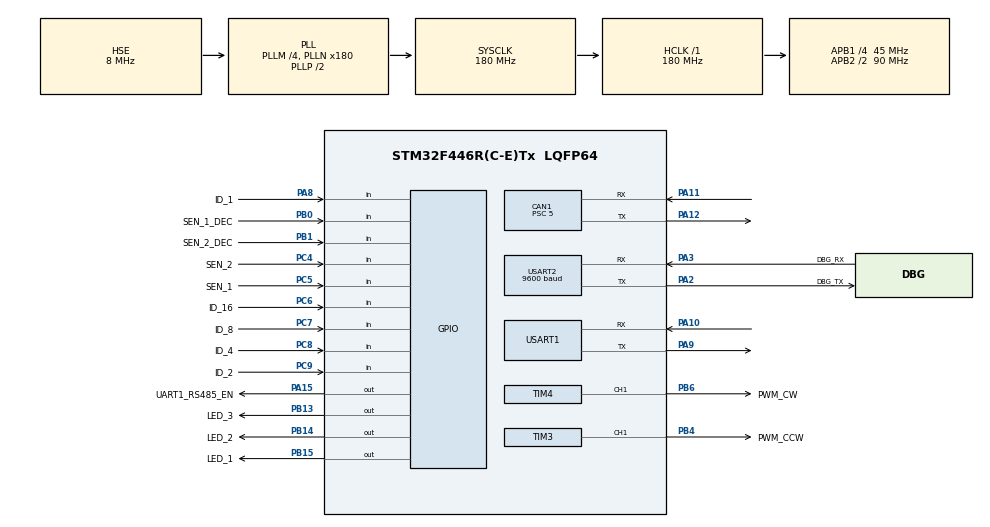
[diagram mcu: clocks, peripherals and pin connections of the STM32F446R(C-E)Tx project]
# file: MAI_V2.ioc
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Mcu.Family=STM32F4
Dma.TIM4_CH1.1.MemDataAlignment=DMA_MDATAALIGN_HALFWORD
Dma.TIM4_CH1.1.PeriphDataAlignment=DMA_PDATAALIGN_HALFWORD
PH0-OSC_IN.Signal=RCC_OSC_IN
RCC.CortexFreq_Value=180000000
PB14.GPIO_Label=LED_2
VP_IWDG_VS_IWDG.Mode=IWDG_Activate
Dma.TIM3_CH1/TRIG.0.MemDataAlignment=DMA_MDATAALIGN_HALFWORD
PC6.GPIO_Label=ID_16
PA11.Mode=CAN_Activate
PB0.GPIO_Label=SEN_1_DEC
PB6.GPIO_Label=PWM_CW
PB13.GPIO_Label=LED_3
NVIC.DMA1_Stream4_IRQn=true\:0\:0\:false\:false\:true\:false\:true
PB13.Signal=GPIO_Output
PB15.Signal=GPIO_Output
PB15.PinState=GPIO_PIN_SET
RCC.SYSCLKSource=RCC_SYSCLKSOURCE_PLLCLK
ProjectManager.StackSize=0x800
PA15.GPIO_Label=UART1_RS485_EN
PA12.Signal=CAN1_TX
NVIC.CAN1_TX_IRQn=true\:3\:0\:true\:false\:true\:true\:true
RCC.HCLKFreq_Value=180000000
RCC.APB2TimFreq_Value=180000000
TIM3.Period=179
TIM4.Pulse-PWM\ Generation1\ CH1=0
TIM4.OCMode_PWM-PWM\ Generation1\ CH1=TIM_OCMODE_PWM2
PB6.Signal=S_TIM4_CH1
PC7.Signal=GPIO_Input
RCC.AHBFreq_Value=180000000
PH0-OSC_IN.Mode=HSE-External-Oscillator
TIM3.Channel-PWM\ Generation1\ CH1=TIM_CHANNEL_1
RCC.HSE_VALUE=8000000
Dma.TIM4_CH1.1.MemInc=DMA_MINC_ENABLE
Dma.TIM3_CH1/TRIG.0.PeriphDataAlignment=DMA_PDATAALIGN_HALFWORD
PC4.GPIO_Label=SEN_2
PA14.Mode=Serial_Wire
TIM3.Prescaler=0
PB1.GPIO_Label=SEN_2_DEC
Dma.TIM3_CH1/TRIG.0.Priority=DMA_PRIORITY_LOW
PA8.Signal=GPIO_Input
SH.S_TIM3_CH1.0=TIM3_CH1,PWM Generation1 CH1
TIM4.Period=179
PH1-OSC_OUT.Mode=HSE-External-Oscillator
CAN1.Prescaler=5
Mcu.Package=LQFP64
PB1.Signal=GPIO_Input
USART2.VirtualMode=VM_ASYNC
PA2.GPIO_Label=DBG_TX
PA10.Signal=USART1_RX
PA15.Signal=GPIO_Output
RCC.APB2CLKDivider=RCC_HCLK_DIV2
SH.S_TIM4_CH1.0=TIM4_CH1,PWM Generation1 CH1
Dma.Request1=TIM4_CH1
RCC.APB1TimFreq_Value=90000000
NVIC.DMA1_Stream0_IRQn=true\:0\:0\:false\:false\:true\:false\:true
PC5.Signal=GPIO_Input
NVIC.USART1_IRQn=true\:0\:0\:false\:false\:true\:true\:true
Dma.Request0=TIM3_CH1/TRIG
CAN1.CalculateTimeBit=999.99
PB4.Signal=S_TIM3_CH1
PA3.Signal=USART2_RX
CAN1.CalculateTimeQuantum=111.11111111111111
Dma.TIM4_CH1.1.PeriphInc=DMA_PINC_DISABLE
RCC.PLLSourceVirtual=RCC_PLLSOURCE_HSE
TIM4.Channel-PWM\ Generation1\ CH1=TIM_CHANNEL_1
PA10.Mode=Asynchronous
PC9.GPIO_Label=ID_2
PB6.GPIO_PuPd=GPIO_PULLDOWN
CAN1.CalculateBaudRate=1000000
Dma.TIM3_CH1/TRIG.0.PeriphInc=DMA_PINC_DISABLE
PC8.Signal=GPIO_Input
PC4.Signal=GPIO_Input
PC6.Signal=GPIO_Input
Dma.TIM3_CH1/TRIG.0.MemInc=DMA_MINC_ENABLE
RCC.APB1CLKDivider=RCC_HCLK_DIV4
NVIC.USART2_IRQn=true\:4\:0\:true\:false\:true\:true\:true
USART2.BaudRate=9600
PC8.GPIO_Label=ID_4
PA13.Signal=SYS_JTMS-SWDIO
PA3.Mode=Asynchronous
PA9.Mode=Asynchronous
PA8.GPIO_Label=ID_1
PB14.PinState=GPIO_PIN_SET
TIM3.Pulse-PWM\ Generation1\ CH1=0
TIM3.OCMode_PWM-PWM\ Generation1\ CH1=TIM_OCMODE_PWM2
CAN1.BS2=CAN_BS2_3TQ
CAN1.BS1=CAN_BS1_5TQ
ProjectManager.TargetToolchain=STM32CubeIDE
PA9.Signal=USART1_TX
PB4.GPIO_PuPd=GPIO_PULLDOWN
RCC.USBFreq_Value=180000000
Dma.TIM4_CH1.1.FIFOMode=DMA_FIFOMODE_DISABLE
CAN1.ABOM=ENABLE
Dma.TIM4_CH1.1.Instance=DMA1_Stream0
PB14.Signal=GPIO_Output
board=custom
RCC.VCOOutputFreq_Value=360000000
Dma.TIM4_CH1.1.Direction=DMA_MEMORY_TO_PERIPH
RCC.APB2Freq_Value=90000000
PB13.PinState=GPIO_PIN_SET
PB4.GPIO_Label=PWM_CCW
PB15.GPIO_Label=LED_1
VP_TIM2_VS_ClockSourceINT.Mode=Internal
RCC.INSTRUCTION_CACHE_ENABLE=1
PH1-OSC_OUT.Signal=RCC_OSC_OUT
TIM2.Period=0
Dma.TIM4_CH1.1.Mode=DMA_NORMAL
PA13.Mode=Serial_Wire
Mcu.Name=STM32F446R(C-E)Tx
Dma.TIM3_CH1/TRIG.0.FIFOMode=DMA_FIFOMODE_DISABLE
PA2.Signal=USART2_TX
CAN1.SJW=CAN_SJW_1TQ
PC7.GPIO_Label=ID_8
Dma.TIM3_CH1/TRIG.0.Mode=DMA_NORMAL
RCC.SYSCLKFreq_VALUE=180000000
PA12.Mode=CAN_Activate
PC5.GPIO_Label=SEN_1
Dma.TIM3_CH1/TRIG.0.Direction=DMA_MEMORY_TO_PERIPH
USART1.VirtualMode=VM_ASYNC
PA15.GPIO_Speed=GPIO_SPEED_FREQ_VERY_HIGH
PA11.Signal=CAN1_RX
PA14.Signal=SYS_JTCK-SWCLK
ProjectManager.HeapSize=0x400
NVIC.PriorityGroup=NVIC_PRIORITYGROUP_4
Dma.TIM3_CH1/TRIG.0.Instance=DMA1_Stream4
RCC.PLLM=4
RCC.PLLN=180
PA2.Mode=Asynchronous
PC9.Signal=GPIO_Input
RCC.APB1Freq_Value=45000000
PB0.Signal=GPIO_Input
NVIC.CAN1_RX0_IRQn=true\:2\:0\:true\:false\:true\:true\:true
Dma.TIM4_CH1.1.Priority=DMA_PRIORITY_LOW
PA3.GPIO_Label=DBG_RX

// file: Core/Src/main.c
/* USER CODE BEGIN Header */
/**
 ******************************************************************************
 * @file           : main.c
 * @brief          : Main program body
 ******************************************************************************
 * @attention
 *
 * <h2><center>&copy; Copyright (c) 2020 STMicroelectronics.
 * All rights reserved.</center></h2>
 *
 * This software component is licensed by ST under BSD 3-Clause license,
 * the "License"; You may not use this file except in compliance with the
 * License. You may obtain a copy of the License at:
 *                        opensource.org/licenses/BSD-3-Clause
 *
 ******************************************************************************
 */
/* USER CODE END Header */
#include "main.h"

/* USER CODE BEGIN Includes */
#include "mai_init.h"
#include "mal_uart.h"
#include "mal_can.h"
#include "mal_systimer.h"
#include "mal_sensor_limit.h"
#include "mal_loop_process.h"
#include "mal_motor.h"
#include "mal_motor_acPana232Func.h"

#include "mal_board_info.h"

#include "eeprom.h"
#include "eeprom_data.h"
#include "mal_motor_acPanaCurve.h"

#include "Imonitor.h"

/* USER CODE END Includes */

CAN_HandleTypeDef hcan1;

IWDG_HandleTypeDef hiwdg;

TIM_HandleTypeDef htim2;
TIM_HandleTypeDef htim3;
TIM_HandleTypeDef htim4;
DMA_HandleTypeDef hdma_tim3_ch1_trig;
DMA_HandleTypeDef hdma_tim4_ch1;

UART_HandleTypeDef huart1;
UART_HandleTypeDef huart2;

/* USER CODE BEGIN PV */

MAL_BoardManagerTypeDef mboard;

MAL_CAN_HandleTypeDef mcan1;
MAL_UART_HandleTypeDef muart1;
MAL_UART_HandleTypeDef muart2;

MAL_SENSOR_Limit_HandleTypeDef sensor[4];

MAL_MOTOR_HandleTypeDef mmotor[MOTOR_AXLE_CNT];

MAL_MOTOR_ACPANA_CurveTypeDef panaCurve = {0,};

/* USER CODE END PV */

void SystemClock_Config(void);
static void MX_GPIO_Init(void);
static void MX_DMA_Init(void);
static void MX_CAN1_Init(void);
static void MX_TIM3_Init(void);
static void MX_TIM4_Init(void);
static void MX_USART2_UART_Init(void);
static void MX_TIM2_Init(void);
static void MX_USART1_UART_Init(void);
static void MX_IWDG_Init(void);

/* USER CODE BEGIN 0 */
//#define LIVE_DBG
#ifdef LIVE_DBG
#include "mal_motor_acPanasonic.h"
uint8_t live_1;
uint8_t live_2;
extern MAL_MOTOR_PanasonicHandleTypeDef mpanasonic;
#endif

/* Virtual address defined by the user: 0xFFFF value is prohibited */
//uint16_t VirtAddVarTab[NB_OF_VAR];
//uint16_t VarDataTab[NB_OF_VAR] = { 'M', 'a', 't', 'e', 'u', 's', 'z', ' ', 'S', 'a', 'l', 'a', 'm', 'o', 'n', ' ', 'm', 's', 'a', 'l', 'a', 'm', 'o', 'n', '.', 'p', 'l' };
//uint8_t VarDataTabRead[NB_OF_VAR];
//uint16_t VarIndex, VarDataTmp = 0;

EEPemul_Data_TypeDef EepData;
/* USER CODE END 0 */

int main(void)
{
  /* USER CODE BEGIN 1 */
	uint32_t t_PulseSync;
	uint8_t toggle232=0;
  /* USER CODE END 1 */

  /* MCU Configuration--------------------------------------------------------*/

  /* Reset of all peripherals, Initializes the Flash interface and the Systick. */
  HAL_Init();

  /* Configure the system clock */
  SystemClock_Config();

  /* Initialize all configured peripherals */
  MX_GPIO_Init();
  MX_DMA_Init();
  MX_CAN1_Init();
  MX_TIM3_Init();
  MX_TIM4_Init();
  MX_USART2_UART_Init();
  MX_TIM2_Init();
  MX_USART1_UART_Init();
  MX_IWDG_Init();
  /* USER CODE BEGIN 2 */
  /* USER CODE BEGIN SysInit */

  /* USER CODE END SysInit */

  /* Initialize all configured peripherals */
  /* USER CODE BEGIN 2 */
  HAL_IWDG_Refresh(&hiwdg);

	//my_can_id = MAL_Board_ID_GetValue();
	gm_motion_RX_LED_init(LED_2_GPIO_Port, LED_2_Pin, GPIO_PIN_SET);
	gm_motion_TX_LED_init(LED_3_GPIO_Port, LED_3_Pin, GPIO_PIN_SET);
	//MAL_CAN_FilterConfig(&hcan1);

	MAL_MAI_V1_Init();
	//my_can_id = MAL_Board_ID_GetValue();

	//idtest

	add_my_can_sub_id(MAL_Board_ID_GetValue(), 1);

	can_init_data_save(&hcan1);
	//MAL_Protocol_Ani_EventBootAlm();
	app_tx_init_sub_pid_boot_ctl(
			0,
			0,
			my_can_id_data.id,
			MASTER_CAN_ID,
			my_can_id_data.sub_id[0],
			0);

	//Imonitor_init();

/*eep example*/
////
////
//	//EE_emul_Init((uint16_t *)&EepData.flag,sizeof(EEPemul_Data_TypeDef));
//
//
//	//EE_ReadStrData((uint16_t *)&EepData.encoderSt1_cnt,sizeof(EepData.encoderSt1_cnt));
//
//	//EepData.encoderSt1_cnt = 0x11223344;
//	//EE_WriteStrData((uint16_t *)&EepData.encoderSt1_cnt,sizeof(EepData.encoderSt1_cnt));
//
//	//EepData.flag = 0x1212;
//	//EE_WriteStrData((uint16_t *)&EepData.flag,sizeof(EepData.flag));
//
//	/* Unlock the Flash Program Erase controller */
//
//	/* EEPROM Init */
//
//	// HAL_GPIO_WritePin(LED_GPIO_Port, LED_Pin, GPIO_PIN_SET);

/*eep example*/
/*
	// Fill EEPROM variables addresses
	for (VarIndex = 1; VarIndex <= NB_OF_VAR; VarIndex++) {
		VirtAddVarTab[VarIndex - 1] = VarIndex;
	}

	// Store Values in EEPROM emulation
	HAL_UART_Transmit(&huart2, "Store values\n\r", 14, 100);

	//HAL_GPIO_WritePin(LED_GPIO_Port, LED_Pin, GPIO_PIN_RESET);
	for (VarIndex = 0; VarIndex < NB_OF_VAR; VarIndex++) {
		 Sequence 1
		if ((EE_WriteVariable(VirtAddVarTab[VarIndex], VarDataTab[VarIndex])) != HAL_OK) {
			Error_Handler();
		}
	}
	//HAL_GPIO_WritePin(LED_GPIO_Port, LED_Pin, GPIO_PIN_SET);

	// Read values
	HAL_UART_Transmit(&huart2, "Read values\n\r", 13, 100);
	// HAL_GPIO_WritePin(LED_GPIO_Port, LED_Pin, GPIO_PIN_RESET);
	for (VarIndex = 0; VarIndex < NB_OF_VAR; VarIndex++) {
		if ((EE_ReadVariable(VirtAddVarTab[VarIndex], &VarDataTabRead[VarIndex])) != HAL_OK) {
			Error_Handler();
		}
	}
	//  HAL_GPIO_WritePin(LED_GPIO_Port, LED_Pin, GPIO_PIN_SET);

	HAL_UART_Transmit(&huart2, "Read table: ", 12, 100);
	HAL_UART_Transmit(&huart2, VarDataTabRead, NB_OF_VAR, 1000);
	HAL_UART_Transmit(&huart2, "\n\r", 2, 100);

	// Store revert Values in EEPROM emulation
	HAL_UART_Transmit(&huart2, "\n\r", 2, 100);
	HAL_UART_Transmit(&huart2, "Store revert values\n\r", 21, 100);

	//  HAL_GPIO_WritePin(LED_GPIO_Port, LED_Pin, GPIO_PIN_RESET);
	for (VarIndex = 0; VarIndex < NB_OF_VAR; VarIndex++) {
		 Sequence 1
		if ((EE_WriteVariable(VirtAddVarTab[VarIndex], VarDataTab[NB_OF_VAR - VarIndex - 1])) != HAL_OK) {
			Error_Handler();
		}
	}
//		HAL_GPIO_WritePin(LED_GPIO_Port, LED_Pin, GPIO_PIN_SET);

// Read values
	HAL_UART_Transmit(&huart2, "Read revert values\n\r", 20, 100);
	//  HAL_GPIO_WritePin(LED_GPIO_Port, LED_Pin, GPIO_PIN_RESET);
	for (VarIndex = 0; VarIndex < NB_OF_VAR; VarIndex++) {
		if ((EE_ReadVariable(VirtAddVarTab[VarIndex], &VarDataTabRead[VarIndex])) != HAL_OK) {
			Error_Handler();
		}
	}
	// HAL_GPIO_WritePin(LED_GPIO_Port, LED_Pin, GPIO_PIN_SET);

	HAL_UART_Transmit(&huart2, "Read revert table: ", 19, 100);
	HAL_UART_Transmit(&huart2, VarDataTabRead, NB_OF_VAR, 1000);
	HAL_UART_Transmit(&huart2, "\n\r", 2, 100);

	// Store Values in EEPROM emulation
	HAL_UART_Transmit(&huart2, "\n\r", 2, 100);
	HAL_UART_Transmit(&huart2, "Store values\n\r", 14, 100);

	// HAL_GPIO_WritePin(LED_GPIO_Port, LED_Pin, GPIO_PIN_RESET);
	for (VarIndex = 0; VarIndex < NB_OF_VAR; VarIndex++) {
		 Sequence 1
		if ((EE_WriteVariable(VirtAddVarTab[VarIndex], VarDataTab[VarIndex])) != HAL_OK) {
			Error_Handler();
		}
	}
	//HAL_GPIO_WritePin(LED_GPIO_Port, LED_Pin, GPIO_PIN_SET);

	// Read values
	HAL_UART_Transmit(&huart2, "Read values\n\r", 13, 100);
	//HAL_GPIO_WritePin(LED_GPIO_Port, LED_Pin, GPIO_PIN_RESET);
	for (VarIndex = 0; VarIndex < NB_OF_VAR; VarIndex++) {
		if ((EE_ReadVariable(VirtAddVarTab[VarIndex], &VarDataTabRead[VarIndex])) != HAL_OK) {
			Error_Handler();
		}
	}
	//HAL_GPIO_WritePin(LED_GPIO_Port, LED_Pin, GPIO_PIN_SET);

	HAL_UART_Transmit(&huart2, "Read table: ", 12, 100);
	HAL_UART_Transmit(&huart2, VarDataTabRead, NB_OF_VAR, 1000);
	HAL_UART_Transmit(&huart2, "\n\r", 2, 100);
*/

  /* USER CODE END 2 */

  /* Infinite loop */
	while (1) {

    /* USER CODE BEGIN 3 */

		if(MAL_SysTimer_Elapsed(t_PulseSync) >= 500)
		{
			if(toggle232 == 0)
			{
				MAL_Motor_AcPanasonic_232_GetPulseCounter();
				toggle232 = 1;
			}
			else if(toggle232 == 1)
			{
				MAL_Motor_AcPanasonic_232_GetAlmNumber();
				toggle232 = 2;
			}
			else
			{
				MAL_Motor_AcPanasonic_232_GetAbsoluteCounter();
				toggle232 = 0;
			}
			t_PulseSync = MAL_SysTimer_GetTickCount();
		}
		/*rs232 test*/
//
//		if (MAL_SysTimer_Elapsed(test232_t) >= 100) {
//			//MAL_Motor_AcPanasonic_232_SetAbsoluteClear();
//			MAL_Motor_AcPanasonic_232_GetAbsoluteCounter();
//			test232_t = MAL_SysTimer_GetTickCount();
//		}

		MAL_LOOP_ProcessHandler();
		proc_can_rx();
		proc_can_tx();

		/*	  HAL_Delay(100);
		 PWM_CCW_GPIO_Port->ODR |= PWM_CCW_Pin; // RESET
		 PWM_CW_GPIO_Port->ODR |= PWM_CW_Pin;
		 HAL_Delay(500);
		 PWM_CCW_GPIO_Port->ODR &= ~PWM_CCW_Pin; // SET
		 PWM_CW_GPIO_Port->ODR &= ~PWM_CW_Pin;*/
#ifdef IWDG_INIT
		HAL_IWDG_Refresh(&hiwdg);
#endif

#ifdef LIVE_DBG
	  live_1 = MAL_SENSOR_GetDetection(mpanasonic.cwSen);
	  live_2 = MAL_SENSOR_GetDetection(mpanasonic.ccwSen);
#endif
	}
  /* USER CODE END 3 */
}

void SystemClock_Config(void)
{
  RCC_OscInitTypeDef RCC_OscInitStruct = {0};
  RCC_ClkInitTypeDef RCC_ClkInitStruct = {0};

  /** Configure the main internal regulator output voltage
  */
  __HAL_RCC_PWR_CLK_ENABLE();
  __HAL_PWR_VOLTAGESCALING_CONFIG(PWR_REGULATOR_VOLTAGE_SCALE1);
  /** Initializes the RCC Oscillators according to the specified parameters
  * in the RCC_OscInitTypeDef structure.
  */
  RCC_OscInitStruct.OscillatorType = RCC_OSCILLATORTYPE_LSI|RCC_OSCILLATORTYPE_HSE;
  RCC_OscInitStruct.HSEState = RCC_HSE_ON;
  RCC_OscInitStruct.LSIState = RCC_LSI_ON;
  RCC_OscInitStruct.PLL.PLLState = RCC_PLL_ON;
  RCC_OscInitStruct.PLL.PLLSource = RCC_PLLSOURCE_HSE;
  RCC_OscInitStruct.PLL.PLLM = 4;
  RCC_OscInitStruct.PLL.PLLN = 180;
  RCC_OscInitStruct.PLL.PLLP = RCC_PLLP_DIV2;
  RCC_OscInitStruct.PLL.PLLQ = 2;
  RCC_OscInitStruct.PLL.PLLR = 2;
  if (HAL_RCC_OscConfig(&RCC_OscInitStruct) != HAL_OK)
  {
    Error_Handler();
  }
  /** Activate the Over-Drive mode
  */
  if (HAL_PWREx_EnableOverDrive() != HAL_OK)
  {
    Error_Handler();
  }
  /** Initializes the CPU, AHB and APB buses clocks
  */
  RCC_ClkInitStruct.ClockType = RCC_CLOCKTYPE_HCLK|RCC_CLOCKTYPE_SYSCLK
                              |RCC_CLOCKTYPE_PCLK1|RCC_CLOCKTYPE_PCLK2;
  RCC_ClkInitStruct.SYSCLKSource = RCC_SYSCLKSOURCE_PLLCLK;
  RCC_ClkInitStruct.AHBCLKDivider = RCC_SYSCLK_DIV1;
  RCC_ClkInitStruct.APB1CLKDivider = RCC_HCLK_DIV4;
  RCC_ClkInitStruct.APB2CLKDivider = RCC_HCLK_DIV2;

  if (HAL_RCC_ClockConfig(&RCC_ClkInitStruct, FLASH_LATENCY_5) != HAL_OK)
  {
    Error_Handler();
  }
}

static void MX_CAN1_Init(void)
{

  hcan1.Instance = CAN1;
  hcan1.Init.Prescaler = 5;
  hcan1.Init.Mode = CAN_MODE_NORMAL;
  hcan1.Init.SyncJumpWidth = CAN_SJW_1TQ;
  hcan1.Init.TimeSeg1 = CAN_BS1_5TQ;
  hcan1.Init.TimeSeg2 = CAN_BS2_3TQ;
  hcan1.Init.TimeTriggeredMode = DISABLE;
  hcan1.Init.AutoBusOff = ENABLE;
  hcan1.Init.AutoWakeUp = DISABLE;
  hcan1.Init.AutoRetransmission = DISABLE;
  hcan1.Init.ReceiveFifoLocked = DISABLE;
  hcan1.Init.TransmitFifoPriority = DISABLE;
  if (HAL_CAN_Init(&hcan1) != HAL_OK)
  {
    Error_Handler();
  }

}

static void MX_IWDG_Init(void)
{

  hiwdg.Instance = IWDG;
  hiwdg.Init.Prescaler = IWDG_PRESCALER_4;
  hiwdg.Init.Reload = 4095;
  if (HAL_IWDG_Init(&hiwdg) != HAL_OK)
  {
    Error_Handler();
  }

}

static void MX_TIM2_Init(void)
{

  TIM_ClockConfigTypeDef sClockSourceConfig = {0};
  TIM_MasterConfigTypeDef sMasterConfig = {0};

  htim2.Instance = TIM2;
  htim2.Init.Prescaler = 0;
  htim2.Init.CounterMode = TIM_COUNTERMODE_UP;
  htim2.Init.Period = 0;
  htim2.Init.ClockDivision = TIM_CLOCKDIVISION_DIV1;
  htim2.Init.AutoReloadPreload = TIM_AUTORELOAD_PRELOAD_DISABLE;
  if (HAL_TIM_Base_Init(&htim2) != HAL_OK)
  {
    Error_Handler();
  }
  sClockSourceConfig.ClockSource = TIM_CLOCKSOURCE_INTERNAL;
  if (HAL_TIM_ConfigClockSource(&htim2, &sClockSourceConfig) != HAL_OK)
  {
    Error_Handler();
  }
  sMasterConfig.MasterOutputTrigger = TIM_TRGO_RESET;
  sMasterConfig.MasterSlaveMode = TIM_MASTERSLAVEMODE_DISABLE;
  if (HAL_TIMEx_MasterConfigSynchronization(&htim2, &sMasterConfig) != HAL_OK)
  {
    Error_Handler();
  }

}

static void MX_TIM3_Init(void)
{

  TIM_MasterConfigTypeDef sMasterConfig = {0};
  TIM_OC_InitTypeDef sConfigOC = {0};

  htim3.Instance = TIM3;
  htim3.Init.Prescaler = 0;
  htim3.Init.CounterMode = TIM_COUNTERMODE_UP;
  htim3.Init.Period = 179;
  htim3.Init.ClockDivision = TIM_CLOCKDIVISION_DIV1;
  htim3.Init.AutoReloadPreload = TIM_AUTORELOAD_PRELOAD_DISABLE;
  if (HAL_TIM_PWM_Init(&htim3) != HAL_OK)
  {
    Error_Handler();
  }
  sMasterConfig.MasterOutputTrigger = TIM_TRGO_RESET;
  sMasterConfig.MasterSlaveMode = TIM_MASTERSLAVEMODE_DISABLE;
  if (HAL_TIMEx_MasterConfigSynchronization(&htim3, &sMasterConfig) != HAL_OK)
  {
    Error_Handler();
  }
  sConfigOC.OCMode = TIM_OCMODE_PWM2;
  sConfigOC.Pulse = 0;
  sConfigOC.OCPolarity = TIM_OCPOLARITY_HIGH;
  sConfigOC.OCFastMode = TIM_OCFAST_DISABLE;
  if (HAL_TIM_PWM_ConfigChannel(&htim3, &sConfigOC, TIM_CHANNEL_1) != HAL_OK)
  {
    Error_Handler();
  }
  HAL_TIM_MspPostInit(&htim3);

}

static void MX_TIM4_Init(void)
{

  TIM_MasterConfigTypeDef sMasterConfig = {0};
  TIM_OC_InitTypeDef sConfigOC = {0};

  htim4.Instance = TIM4;
  htim4.Init.Prescaler = 0;
  htim4.Init.CounterMode = TIM_COUNTERMODE_UP;
  htim4.Init.Period = 179;
  htim4.Init.ClockDivision = TIM_CLOCKDIVISION_DIV1;
  htim4.Init.AutoReloadPreload = TIM_AUTORELOAD_PRELOAD_DISABLE;
  if (HAL_TIM_PWM_Init(&htim4) != HAL_OK)
  {
    Error_Handler();
  }
  sMasterConfig.MasterOutputTrigger = TIM_TRGO_RESET;
  sMasterConfig.MasterSlaveMode = TIM_MASTERSLAVEMODE_DISABLE;
  if (HAL_TIMEx_MasterConfigSynchronization(&htim4, &sMasterConfig) != HAL_OK)
  {
    Error_Handler();
  }
  sConfigOC.OCMode = TIM_OCMODE_PWM2;
  sConfigOC.Pulse = 0;
  sConfigOC.OCPolarity = TIM_OCPOLARITY_HIGH;
  sConfigOC.OCFastMode = TIM_OCFAST_DISABLE;
  if (HAL_TIM_PWM_ConfigChannel(&htim4, &sConfigOC, TIM_CHANNEL_1) != HAL_OK)
  {
    Error_Handler();
  }
  HAL_TIM_MspPostInit(&htim4);

}

static void MX_USART1_UART_Init(void)
{

  huart1.Instance = USART1;
  huart1.Init.BaudRate = 115200;
  huart1.Init.WordLength = UART_WORDLENGTH_8B;
  huart1.Init.StopBits = UART_STOPBITS_1;
  huart1.Init.Parity = UART_PARITY_NONE;
  huart1.Init.Mode = UART_MODE_TX_RX;
  huart1.Init.HwFlowCtl = UART_HWCONTROL_NONE;
  huart1.Init.OverSampling = UART_OVERSAMPLING_16;
  if (HAL_UART_Init(&huart1) != HAL_OK)
  {
    Error_Handler();
  }

}

static void MX_USART2_UART_Init(void)
{

  huart2.Instance = USART2;
  huart2.Init.BaudRate = 9600;
  huart2.Init.WordLength = UART_WORDLENGTH_8B;
  huart2.Init.StopBits = UART_STOPBITS_1;
  huart2.Init.Parity = UART_PARITY_NONE;
  huart2.Init.Mode = UART_MODE_TX_RX;
  huart2.Init.HwFlowCtl = UART_HWCONTROL_NONE;
  huart2.Init.OverSampling = UART_OVERSAMPLING_16;
  if (HAL_UART_Init(&huart2) != HAL_OK)
  {
    Error_Handler();
  }

}

static void MX_DMA_Init(void)
{

  /* DMA controller clock enable */
  __HAL_RCC_DMA1_CLK_ENABLE();

  /* DMA interrupt init */
  /* DMA1_Stream0_IRQn interrupt configuration */
  HAL_NVIC_SetPriority(DMA1_Stream0_IRQn, 0, 0);
  HAL_NVIC_EnableIRQ(DMA1_Stream0_IRQn);
  /* DMA1_Stream4_IRQn interrupt configuration */
  HAL_NVIC_SetPriority(DMA1_Stream4_IRQn, 0, 0);
  HAL_NVIC_EnableIRQ(DMA1_Stream4_IRQn);

}

static void MX_GPIO_Init(void)
{
  GPIO_InitTypeDef GPIO_InitStruct = {0};

  /* GPIO Ports Clock Enable */
  __HAL_RCC_GPIOH_CLK_ENABLE();
  __HAL_RCC_GPIOA_CLK_ENABLE();
  __HAL_RCC_GPIOC_CLK_ENABLE();
  __HAL_RCC_GPIOB_CLK_ENABLE();

  /*Configure GPIO pin Output Level */
  HAL_GPIO_WritePin(GPIOB, LED_3_Pin|LED_2_Pin|LED_1_Pin, GPIO_PIN_SET);

  /*Configure GPIO pin Output Level */
  HAL_GPIO_WritePin(UART1_RS485_EN_GPIO_Port, UART1_RS485_EN_Pin, GPIO_PIN_RESET);

  /*Configure GPIO pins : SEN_2_Pin SEN_1_Pin ID_16_Pin ID_8_Pin
                           ID_4_Pin ID_2_Pin */
  GPIO_InitStruct.Pin = SEN_2_Pin|SEN_1_Pin|ID_16_Pin|ID_8_Pin
                          |ID_4_Pin|ID_2_Pin;
  GPIO_InitStruct.Mode = GPIO_MODE_INPUT;
  GPIO_InitStruct.Pull = GPIO_NOPULL;
  HAL_GPIO_Init(GPIOC, &GPIO_InitStruct);

  /*Configure GPIO pins : SEN_1_DEC_Pin SEN_2_DEC_Pin */
  GPIO_InitStruct.Pin = SEN_1_DEC_Pin|SEN_2_DEC_Pin;
  GPIO_InitStruct.Mode = GPIO_MODE_INPUT;
  GPIO_InitStruct.Pull = GPIO_NOPULL;
  HAL_GPIO_Init(GPIOB, &GPIO_InitStruct);

  /*Configure GPIO pins : LED_3_Pin LED_2_Pin LED_1_Pin */
  GPIO_InitStruct.Pin = LED_3_Pin|LED_2_Pin|LED_1_Pin;
  GPIO_InitStruct.Mode = GPIO_MODE_OUTPUT_PP;
  GPIO_InitStruct.Pull = GPIO_NOPULL;
  GPIO_InitStruct.Speed = GPIO_SPEED_FREQ_LOW;
  HAL_GPIO_Init(GPIOB, &GPIO_InitStruct);

  /*Configure GPIO pin : ID_1_Pin */
  GPIO_InitStruct.Pin = ID_1_Pin;
  GPIO_InitStruct.Mode = GPIO_MODE_INPUT;
  GPIO_InitStruct.Pull = GPIO_NOPULL;
  HAL_GPIO_Init(ID_1_GPIO_Port, &GPIO_InitStruct);

  /*Configure GPIO pin : UART1_RS485_EN_Pin */
  GPIO_InitStruct.Pin = UART1_RS485_EN_Pin;
  GPIO_InitStruct.Mode = GPIO_MODE_OUTPUT_PP;
  GPIO_InitStruct.Pull = GPIO_NOPULL;
  GPIO_InitStruct.Speed = GPIO_SPEED_FREQ_VERY_HIGH;
  HAL_GPIO_Init(UART1_RS485_EN_GPIO_Port, &GPIO_InitStruct);

}

void Error_Handler(void)
{
}

/************************ (C) COPYRIGHT STMicroelectronics *****END OF FILE****/
